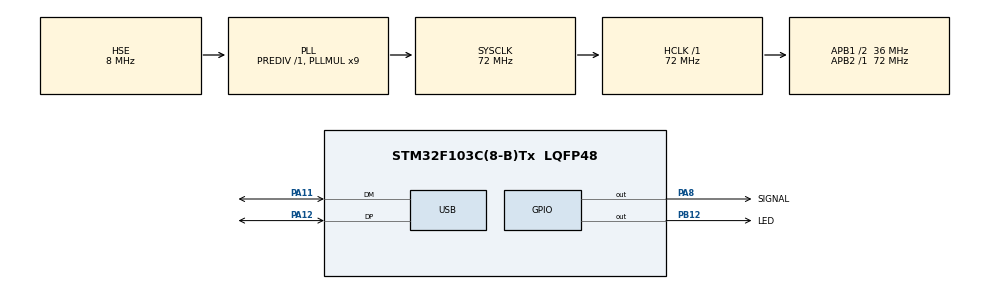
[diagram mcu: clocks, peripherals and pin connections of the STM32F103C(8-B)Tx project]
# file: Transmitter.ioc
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Mcu.Family=STM32F1
Mcu.Name=STM32F103C(8-B)Tx
Mcu.Package=LQFP48
NVIC.PriorityGroup=NVIC_PRIORITYGROUP_4
NVIC.TIM2_IRQn=true\:0\:0\:false\:false\:true\:true\:true
NVIC.USB_LP_CAN1_RX0_IRQn=true\:0\:0\:false\:false\:true\:false\:true
PA11.Mode=Device
PA11.Signal=USB_DM
PA12.Mode=Device
PA12.Signal=USB_DP
PA13.Mode=Serial_Wire
PA13.Signal=SYS_JTMS-SWDIO
PA14.Mode=Serial_Wire
PA14.Signal=SYS_JTCK-SWCLK
PA8.GPIO_Label=SIGNAL
PA8.GPIO_Speed=GPIO_SPEED_FREQ_HIGH
PA8.PinState=GPIO_PIN_RESET
PA8.Signal=GPIO_Output
PB12.GPIO_Label=LED
PB12.Signal=GPIO_Output
PD0-OSC_IN.Mode=HSE-External-Oscillator
PD0-OSC_IN.Signal=RCC_OSC_IN
PD1-OSC_OUT.Mode=HSE-External-Oscillator
PD1-OSC_OUT.Signal=RCC_OSC_OUT
ProjectManager.HeapSize=0x100
ProjectManager.StackSize=0x400
ProjectManager.TargetToolchain=STM32CubeIDE
RCC.ADCPresc=RCC_ADCPCLK2_DIV6
RCC.AHBFreq_Value=72000000
RCC.APB1CLKDivider=RCC_HCLK_DIV2
RCC.APB1Freq_Value=36000000
RCC.APB1TimFreq_Value=72000000
RCC.APB2Freq_Value=72000000
RCC.APB2TimFreq_Value=72000000
RCC.HCLKFreq_Value=72000000
RCC.PLLMUL=RCC_PLL_MUL9
RCC.PLLSourceVirtual=RCC_PLLSOURCE_HSE
RCC.SYSCLKFreq_VALUE=72000000
RCC.SYSCLKSource=RCC_SYSCLKSOURCE_PLLCLK
RCC.USBFreq_Value=48000000
RCC.USBPrescaler=RCC_USBCLKSOURCE_PLL_DIV1_5
TIM2.Period=100-1
TIM2.Prescaler=720-1
USB_DEVICE.APP_RX_DATA_SIZE=2048
USB_DEVICE.APP_TX_DATA_SIZE=2048
USB_DEVICE.CLASS_NAME_FS=CDC
USB_DEVICE.USBD_MAX_NUM_INTERFACES=1
USB_DEVICE.VirtualMode=Cdc
USB_DEVICE.VirtualModeFS=Cdc_FS
VP_TIM2_VS_ClockSourceINT.Mode=Internal
VP_USB_DEVICE_VS_USB_DEVICE_CDC_FS.Mode=CDC_FS
board=custom

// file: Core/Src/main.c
/* USER CODE BEGIN Header */
/**
 ******************************************************************************
 * @file           : main.c
 * @brief          : Main program body
 ******************************************************************************
 * @attention
 *
 * <h2><center>&copy; Copyright (c) 2020 STMicroelectronics.
 * All rights reserved.</center></h2>
 *
 * This software component is licensed by ST under BSD 3-Clause license,
 * the "License"; You may not use this file except in compliance with the
 * License. You may obtain a copy of the License at:
 *                        opensource.org/licenses/BSD-3-Clause
 *
 ******************************************************************************
 */
/* USER CODE END Header */
#include "main.h"
#include "usb_device.h"

TIM_HandleTypeDef htim2;

/* USER CODE BEGIN PV */

int preamble_bit = 0;
int preamble_flag = 0;
char binaryString2[300];
char *output;
int len;
int counter = 0;
int i = 0;
int words = 0;
int flag = 0;
int bit = 0;
char Msg[200] = "hello hello hello hello hello hello hello hell hello hello hello hello hello hello hello \r\n";

/* USER CODE END PV */

void SystemClock_Config(void);
static void MX_GPIO_Init(void);
static void MX_TIM2_Init(void);

/* USER CODE BEGIN 0 */

// Function taken from: https://stackoverflow.com/questions/41384262/convert-string-to-binary-in-c
// converts a given string to its binary equivalent
char *stringToBinary(char *s)
{
	if (s == NULL) {
		// NULL might be 0 but you cannot be sure about it
		return NULL;
	}
	// get length of string without NULL
	size_t slen = strlen(s);

	errno = 0;
	// allocate "slen" (number of characters in string without NUL)
	// times the number of bits in a "char" plus one byte for the NUL
	// at the end of the return value
	char *binary = malloc(slen * CHAR_BIT + 1);
	if(binary == NULL){
		fprintf(stderr,"malloc has failed in stringToBinary(%s): %s\n",s, strerror(errno));
		return NULL;
	}

	if (slen == 0) {
		*binary = '\0';
		return binary;
	}
	char *ptr;
	// keep an eye on the beginning
	char *start = binary;
	int i;

	// loop over the input-characters
	for (ptr = s; *ptr != '\0'; ptr++) {
		/* perform bitwise AND for every bit of the character */
		// loop over the input-character bits
		for (i = CHAR_BIT - 1; i >= 0; i--, binary++) {
			*binary = (*ptr & 1 << i) ? '1' : '0';
		}
	}
	// finalize return value
	*binary = '\0';
	// reset pointer to beginning
	binary = start;
	return binary;
}

/* USER CODE END 0 */

int main(void)
{

	/* MCU Configuration--------------------------------------------------------*/

	/* Reset of all peripherals, Initializes the Flash interface and the Systick. */
	HAL_Init();

	/* Configure the system clock */
	SystemClock_Config();

	/* Initialize all configured peripherals */
	MX_GPIO_Init();
	MX_USB_DEVICE_Init();
	MX_TIM2_Init();

	/* Infinite loop */
	while (1)
	{

		/* USER CODE BEGIN 3 */

		// Initialisation code, only runs once to generate a string of binary digits based on a supplied string which can be freely changed
		if(flag == 0)
		{
			HAL_GPIO_WritePin(LED_GPIO_Port, LED_Pin, GPIO_PIN_SET);
			HAL_Delay(3000); // 3 second delay to give time to position the LED
			char input[200] = "Hello World!"; // input string, can change to any string if required
			output = stringToBinary(input); // converts input to binary equivalent

			len = strlen(output); // grabs number of bits

			// create new string here in order to be able to access each element of the output string*
			char binaryString[len+8];

			for (; *output; output++)
			{
				binaryString[i] = *output;
				i++;
			}
			free(output);

			strcpy(binaryString2, binaryString);

			flag = 1;

			HAL_TIM_Base_Start_IT(&htim2); // begin transmission
		}

	}
	/* USER CODE END 3 */
}

void SystemClock_Config(void)
{
	RCC_OscInitTypeDef RCC_OscInitStruct = {0};
	RCC_ClkInitTypeDef RCC_ClkInitStruct = {0};
	RCC_PeriphCLKInitTypeDef PeriphClkInit = {0};

	/** Initializes the RCC Oscillators according to the specified parameters
	 * in the RCC_OscInitTypeDef structure.
	 */
	RCC_OscInitStruct.OscillatorType = RCC_OSCILLATORTYPE_HSE;
	RCC_OscInitStruct.HSEState = RCC_HSE_ON;
	RCC_OscInitStruct.HSEPredivValue = RCC_HSE_PREDIV_DIV1;
	RCC_OscInitStruct.HSIState = RCC_HSI_ON;
	RCC_OscInitStruct.PLL.PLLState = RCC_PLL_ON;
	RCC_OscInitStruct.PLL.PLLSource = RCC_PLLSOURCE_HSE;
	RCC_OscInitStruct.PLL.PLLMUL = RCC_PLL_MUL9;
	if (HAL_RCC_OscConfig(&RCC_OscInitStruct) != HAL_OK)
	{
		Error_Handler();
	}
	/** Initializes the CPU, AHB and APB buses clocks
	 */
	RCC_ClkInitStruct.ClockType = RCC_CLOCKTYPE_HCLK|RCC_CLOCKTYPE_SYSCLK
			|RCC_CLOCKTYPE_PCLK1|RCC_CLOCKTYPE_PCLK2;
	RCC_ClkInitStruct.SYSCLKSource = RCC_SYSCLKSOURCE_PLLCLK;
	RCC_ClkInitStruct.AHBCLKDivider = RCC_SYSCLK_DIV1;
	RCC_ClkInitStruct.APB1CLKDivider = RCC_HCLK_DIV2;
	RCC_ClkInitStruct.APB2CLKDivider = RCC_HCLK_DIV1;

	if (HAL_RCC_ClockConfig(&RCC_ClkInitStruct, FLASH_LATENCY_2) != HAL_OK)
	{
		Error_Handler();
	}
	PeriphClkInit.PeriphClockSelection = RCC_PERIPHCLK_USB;
	PeriphClkInit.UsbClockSelection = RCC_USBCLKSOURCE_PLL_DIV1_5;
	if (HAL_RCCEx_PeriphCLKConfig(&PeriphClkInit) != HAL_OK)
	{
		Error_Handler();
	}
}

static void MX_TIM2_Init(void)
{

	TIM_ClockConfigTypeDef sClockSourceConfig = {0};
	TIM_MasterConfigTypeDef sMasterConfig = {0};

	htim2.Instance = TIM2;
	htim2.Init.Prescaler = 720-1;
	htim2.Init.CounterMode = TIM_COUNTERMODE_UP;
	htim2.Init.Period = 100-1;
	htim2.Init.ClockDivision = TIM_CLOCKDIVISION_DIV1;
	htim2.Init.AutoReloadPreload = TIM_AUTORELOAD_PRELOAD_DISABLE;
	if (HAL_TIM_Base_Init(&htim2) != HAL_OK)
	{
		Error_Handler();
	}
	sClockSourceConfig.ClockSource = TIM_CLOCKSOURCE_INTERNAL;
	if (HAL_TIM_ConfigClockSource(&htim2, &sClockSourceConfig) != HAL_OK)
	{
		Error_Handler();
	}
	sMasterConfig.MasterOutputTrigger = TIM_TRGO_RESET;
	sMasterConfig.MasterSlaveMode = TIM_MASTERSLAVEMODE_DISABLE;
	if (HAL_TIMEx_MasterConfigSynchronization(&htim2, &sMasterConfig) != HAL_OK)
	{
		Error_Handler();
	}

}

static void MX_GPIO_Init(void)
{
	GPIO_InitTypeDef GPIO_InitStruct = {0};

	/* GPIO Ports Clock Enable */
	__HAL_RCC_GPIOD_CLK_ENABLE();
	__HAL_RCC_GPIOB_CLK_ENABLE();
	__HAL_RCC_GPIOA_CLK_ENABLE();

	/*Configure GPIO pin Output Level */
	HAL_GPIO_WritePin(LED_GPIO_Port, LED_Pin, GPIO_PIN_RESET);

	/*Configure GPIO pin Output Level */
	HAL_GPIO_WritePin(SIGNAL_GPIO_Port, SIGNAL_Pin, GPIO_PIN_RESET);

	/*Configure GPIO pin : LED_Pin */
	GPIO_InitStruct.Pin = LED_Pin;
	GPIO_InitStruct.Mode = GPIO_MODE_OUTPUT_PP;
	GPIO_InitStruct.Pull = GPIO_NOPULL;
	GPIO_InitStruct.Speed = GPIO_SPEED_FREQ_LOW;
	HAL_GPIO_Init(LED_GPIO_Port, &GPIO_InitStruct);

	/*Configure GPIO pin : SIGNAL_Pin */
	GPIO_InitStruct.Pin = SIGNAL_Pin;
	GPIO_InitStruct.Mode = GPIO_MODE_OUTPUT_PP;
	GPIO_InitStruct.Pull = GPIO_NOPULL;
	GPIO_InitStruct.Speed = GPIO_SPEED_FREQ_HIGH;
	HAL_GPIO_Init(SIGNAL_GPIO_Port, &GPIO_InitStruct);

}

/* USER CODE BEGIN 4 */

// Callback: timer has rolled over
void HAL_TIM_PeriodElapsedCallback(TIM_HandleTypeDef *htim)
{
	// Check which version of the timer triggered this callback and toggle LED
	if ( htim == &htim2 )
	{
		if(preamble_flag != 1) // send preamble of 3 HIGH bits = start flag
		{
			HAL_GPIO_WritePin(SIGNAL_GPIO_Port, SIGNAL_Pin, GPIO_PIN_SET);

			if(preamble_bit == 2) // 3-1
			{
				preamble_flag = 1;
				HAL_GPIO_WritePin(LED_GPIO_Port, LED_Pin, GPIO_PIN_RESET); // turn on blue on board LED to visually signal that transmission has begun
			}

			preamble_bit++;
		}
		else // after preamble
		{
			if(counter < 8) // for 8 bits equaling one byte or one whole character
			{
				if(binaryString2[bit] == '1') // HIGH
				{
					HAL_GPIO_WritePin(SIGNAL_GPIO_Port, SIGNAL_Pin, GPIO_PIN_SET);
					bit++;
				}
				else if(binaryString2[bit] == '0') // LOW
				{
					HAL_GPIO_WritePin(SIGNAL_GPIO_Port, SIGNAL_Pin, GPIO_PIN_RESET);
					bit++;
				}

				counter++;
			}
			else
			{
				counter = 0;
				HAL_GPIO_WritePin(SIGNAL_GPIO_Port, SIGNAL_Pin, GPIO_PIN_RESET); // turn off led for one cycle = end flag
				preamble_flag = 0;
				preamble_bit = 0;

				words++;
				if(words == (len/8)) // checks if the entire string has been transmitted
				{
					bit = 0;
					words = 0;
					// uncomment the following to limit the amount of strings sent
					//repeats++;
					//if(repeats == 30) // change for the number of strings to send before transmission ends
					//{
					//	HAL_TIM_Base_Stop_IT(&htim2);
					//}
				}
			}
		}
	}
}

/* USER CODE END 4 */

void Error_Handler(void)
{
}

/************************ (C) COPYRIGHT STMicroelectronics *****END OF FILE****/
